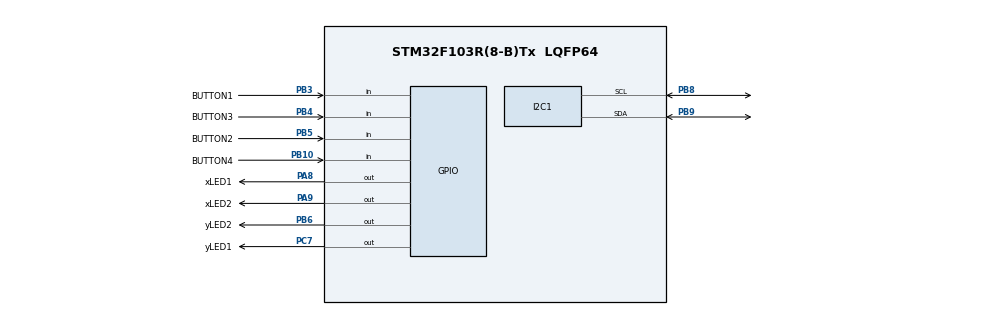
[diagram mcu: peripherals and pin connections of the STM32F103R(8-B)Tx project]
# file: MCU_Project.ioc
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Mcu.Family=STM32F1
Mcu.Name=STM32F103R(8-B)Tx
Mcu.Package=LQFP64
NVIC.PriorityGroup=NVIC_PRIORITYGROUP_4
NVIC.TIM2_IRQn=true\:0\:0\:false\:false\:true\:true\:true
PA13.Mode=Serial_Wire
PA13.Signal=SYS_JTMS-SWDIO
PA14.Mode=Serial_Wire
PA14.Signal=SYS_JTCK-SWCLK
PA8.GPIO_Label=xLED1
PA8.Signal=GPIO_Output
PA9.GPIO_Label=xLED2
PA9.Signal=GPIO_Output
PB10.GPIO_Label=BUTTON4
PB10.GPIO_PuPd=GPIO_PULLUP
PB10.Signal=GPIO_Input
PB3.GPIO_Label=BUTTON1
PB3.GPIO_PuPd=GPIO_PULLUP
PB3.Signal=GPIO_Input
PB4.GPIO_Label=BUTTON3
PB4.GPIO_PuPd=GPIO_PULLUP
PB4.Signal=GPIO_Input
PB5.GPIO_Label=BUTTON2
PB5.GPIO_PuPd=GPIO_PULLUP
PB5.Signal=GPIO_Input
PB6.GPIO_Label=yLED2
PB6.Signal=GPIO_Output
PB8.Mode=I2C
PB8.Signal=I2C1_SCL
PB9.Mode=I2C
PB9.Signal=I2C1_SDA
PC7.GPIO_Label=yLED1
PC7.Signal=GPIO_Output
ProjectManager.HeapSize=0x200
ProjectManager.StackSize=0x400
ProjectManager.TargetToolchain=STM32CubeIDE
RCC.APB1Freq_Value=8000000
RCC.APB2Freq_Value=8000000
TIM2.Period=9
TIM2.Prescaler=7999
VP_TIM2_VS_ClockSourceINT.Mode=Internal
board=custom

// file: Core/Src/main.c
/* USER CODE BEGIN Header */
/**
  ******************************************************************************
  * @file           : main.c
  * @brief          : Main program body
  ******************************************************************************
  * @attention
  *
  * <h2><center>&copy; Copyright (c) 2025 STMicroelectronics.
  * All rights reserved.</center></h2>
  *
  * This software component is licensed by ST under BSD 3-Clause license,
  * the "License"; You may not use this file except in compliance with the
  * License. You may obtain a copy of the License at:
  *                        opensource.org/licenses/BSD-3-Clause
  *
  ******************************************************************************
  */
/* USER CODE END Header */
#include "main.h"

/* USER CODE BEGIN Includes */
#include "software_timer.h"
#include "button.h"
#include "normalTraffic.h"
#include "global.h"
#include "manualTraffic.h"
#include "modifyTime.h"
#include "i2c-lcd.h"
#include "traffic_display.h"
#include "scheduler.h"
/* USER CODE END Includes */

I2C_HandleTypeDef hi2c1;

TIM_HandleTypeDef htim2;

void SystemClock_Config(void);
static void MX_GPIO_Init(void);
static void MX_TIM2_Init(void);
static void MX_I2C1_Init(void);

int main(void)
{

  /* MCU Configuration--------------------------------------------------------*/

  /* Reset of all peripherals, Initializes the Flash interface and the Systick. */
  HAL_Init();

  /* Configure the system clock */
  SystemClock_Config();

  /* Initialize all configured peripherals */
  MX_GPIO_Init();
  MX_TIM2_Init();
  MX_I2C1_Init();
  /* USER CODE BEGIN 2 */
  HAL_TIM_Base_Start_IT(&htim2);
  /* USER CODE END 2 */

  /* Infinite loop */
  /* USER CODE BEGIN WHILE */
  SCH_Init();
  SCH_Add_Task(timerRun, 0, 1);
  SCH_Add_Task(getKeyInput, 0, 1);
  SCH_Add_Task(normalTraffic_run, 0, 1);
  SCH_Add_Task(manualTrafic_run, 0, 1);
  SCH_Add_Task(modifyTime_run, 0, 1);
  Traffic_Display_Init();
  while (1)
  {
	  SCH_Dispatch_Tasks();
	  //normalTraffic_run();
	  //modifyTime_run();
	  //manualTrafic_run();
    /* USER CODE END WHILE */

  }
}

void SystemClock_Config(void)
{
  RCC_OscInitTypeDef RCC_OscInitStruct = {0};
  RCC_ClkInitTypeDef RCC_ClkInitStruct = {0};

  /** Initializes the RCC Oscillators according to the specified parameters
  * in the RCC_OscInitTypeDef structure.
  */
  RCC_OscInitStruct.OscillatorType = RCC_OSCILLATORTYPE_HSI;
  RCC_OscInitStruct.HSIState = RCC_HSI_ON;
  RCC_OscInitStruct.HSICalibrationValue = RCC_HSICALIBRATION_DEFAULT;
  RCC_OscInitStruct.PLL.PLLState = RCC_PLL_NONE;
  if (HAL_RCC_OscConfig(&RCC_OscInitStruct) != HAL_OK)
  {
    Error_Handler();
  }
  /** Initializes the CPU, AHB and APB buses clocks
  */
  RCC_ClkInitStruct.ClockType = RCC_CLOCKTYPE_HCLK|RCC_CLOCKTYPE_SYSCLK
                              |RCC_CLOCKTYPE_PCLK1|RCC_CLOCKTYPE_PCLK2;
  RCC_ClkInitStruct.SYSCLKSource = RCC_SYSCLKSOURCE_HSI;
  RCC_ClkInitStruct.AHBCLKDivider = RCC_SYSCLK_DIV1;
  RCC_ClkInitStruct.APB1CLKDivider = RCC_HCLK_DIV1;
  RCC_ClkInitStruct.APB2CLKDivider = RCC_HCLK_DIV1;

  if (HAL_RCC_ClockConfig(&RCC_ClkInitStruct, FLASH_LATENCY_0) != HAL_OK)
  {
    Error_Handler();
  }
}

static void MX_I2C1_Init(void)
{

  hi2c1.Instance = I2C1;
  hi2c1.Init.ClockSpeed = 100000;
  hi2c1.Init.DutyCycle = I2C_DUTYCYCLE_2;
  hi2c1.Init.OwnAddress1 = 0;
  hi2c1.Init.AddressingMode = I2C_ADDRESSINGMODE_7BIT;
  hi2c1.Init.DualAddressMode = I2C_DUALADDRESS_DISABLE;
  hi2c1.Init.OwnAddress2 = 0;
  hi2c1.Init.GeneralCallMode = I2C_GENERALCALL_DISABLE;
  hi2c1.Init.NoStretchMode = I2C_NOSTRETCH_DISABLE;
  if (HAL_I2C_Init(&hi2c1) != HAL_OK)
  {
    Error_Handler();
  }

}

static void MX_TIM2_Init(void)
{

  TIM_ClockConfigTypeDef sClockSourceConfig = {0};
  TIM_MasterConfigTypeDef sMasterConfig = {0};

  htim2.Instance = TIM2;
  htim2.Init.Prescaler = 7999;
  htim2.Init.CounterMode = TIM_COUNTERMODE_UP;
  htim2.Init.Period = 9;
  htim2.Init.ClockDivision = TIM_CLOCKDIVISION_DIV1;
  htim2.Init.AutoReloadPreload = TIM_AUTORELOAD_PRELOAD_DISABLE;
  if (HAL_TIM_Base_Init(&htim2) != HAL_OK)
  {
    Error_Handler();
  }
  sClockSourceConfig.ClockSource = TIM_CLOCKSOURCE_INTERNAL;
  if (HAL_TIM_ConfigClockSource(&htim2, &sClockSourceConfig) != HAL_OK)
  {
    Error_Handler();
  }
  sMasterConfig.MasterOutputTrigger = TIM_TRGO_RESET;
  sMasterConfig.MasterSlaveMode = TIM_MASTERSLAVEMODE_DISABLE;
  if (HAL_TIMEx_MasterConfigSynchronization(&htim2, &sMasterConfig) != HAL_OK)
  {
    Error_Handler();
  }

}

static void MX_GPIO_Init(void)
{
  GPIO_InitTypeDef GPIO_InitStruct = {0};

  /* GPIO Ports Clock Enable */
  __HAL_RCC_GPIOB_CLK_ENABLE();
  __HAL_RCC_GPIOC_CLK_ENABLE();
  __HAL_RCC_GPIOA_CLK_ENABLE();

  /*Configure GPIO pin Output Level */
  HAL_GPIO_WritePin(yLED1_GPIO_Port, yLED1_Pin, GPIO_PIN_RESET);

  /*Configure GPIO pin Output Level */
  HAL_GPIO_WritePin(GPIOA, xLED1_Pin|xLED2_Pin, GPIO_PIN_RESET);

  /*Configure GPIO pin Output Level */
  HAL_GPIO_WritePin(yLED2_GPIO_Port, yLED2_Pin, GPIO_PIN_RESET);

  /*Configure GPIO pins : BUTTON4_Pin BUTTON1_Pin BUTTON3_Pin BUTTON2_Pin */
  GPIO_InitStruct.Pin = BUTTON4_Pin|BUTTON1_Pin|BUTTON3_Pin|BUTTON2_Pin;
  GPIO_InitStruct.Mode = GPIO_MODE_INPUT;
  GPIO_InitStruct.Pull = GPIO_PULLUP;
  HAL_GPIO_Init(GPIOB, &GPIO_InitStruct);

  /*Configure GPIO pin : yLED1_Pin */
  GPIO_InitStruct.Pin = yLED1_Pin;
  GPIO_InitStruct.Mode = GPIO_MODE_OUTPUT_PP;
  GPIO_InitStruct.Pull = GPIO_NOPULL;
  GPIO_InitStruct.Speed = GPIO_SPEED_FREQ_LOW;
  HAL_GPIO_Init(yLED1_GPIO_Port, &GPIO_InitStruct);

  /*Configure GPIO pins : xLED1_Pin xLED2_Pin */
  GPIO_InitStruct.Pin = xLED1_Pin|xLED2_Pin;
  GPIO_InitStruct.Mode = GPIO_MODE_OUTPUT_PP;
  GPIO_InitStruct.Pull = GPIO_NOPULL;
  GPIO_InitStruct.Speed = GPIO_SPEED_FREQ_LOW;
  HAL_GPIO_Init(GPIOA, &GPIO_InitStruct);

  /*Configure GPIO pin : yLED2_Pin */
  GPIO_InitStruct.Pin = yLED2_Pin;
  GPIO_InitStruct.Mode = GPIO_MODE_OUTPUT_PP;
  GPIO_InitStruct.Pull = GPIO_NOPULL;
  GPIO_InitStruct.Speed = GPIO_SPEED_FREQ_LOW;
  HAL_GPIO_Init(yLED2_GPIO_Port, &GPIO_InitStruct);

}

/* USER CODE BEGIN 4 */
void HAL_TIM_PeriodElapsedCallback(TIM_HandleTypeDef *htim){
	//timerRun();
	///getKeyInput();
	SCH_Update();
}
/* USER CODE END 4 */

void Error_Handler(void)
{
  __disable_irq();
  while (1)
  {
  }
}

/************************ (C) COPYRIGHT STMicroelectronics *****END OF FILE****/
